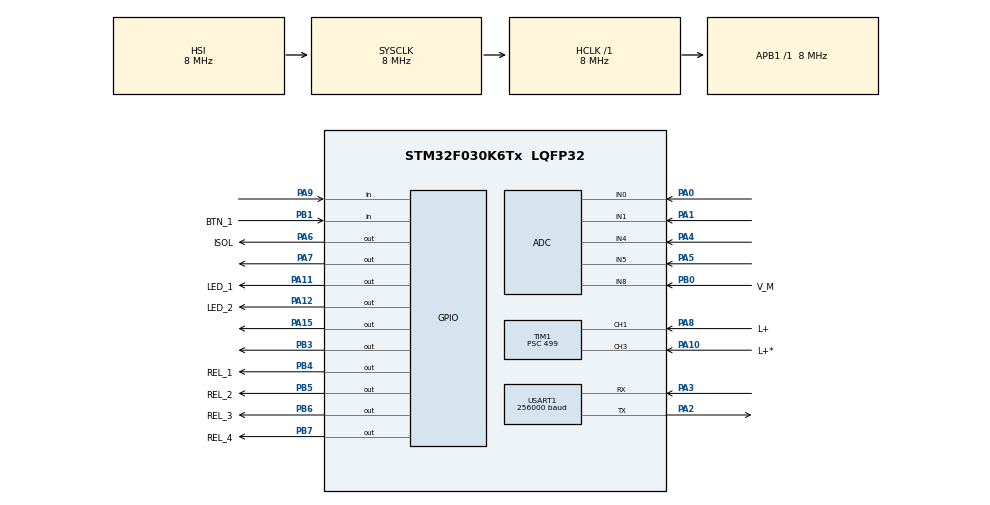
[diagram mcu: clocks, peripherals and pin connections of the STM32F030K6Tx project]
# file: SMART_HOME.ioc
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ADC.ContinuousConvMode=DISABLE
ADC.EnableAnalogWatchDog=false
ADC.SamplingTime=ADC_SAMPLETIME_7CYCLES_5
ADC.ScanConvMode=ADC_SCAN_DIRECTION_FORWARD
Dma.Request0=USART1_TX
Dma.USART1_TX.0.Direction=DMA_MEMORY_TO_PERIPH
Dma.USART1_TX.0.Instance=DMA1_Channel2
Dma.USART1_TX.0.MemDataAlignment=DMA_MDATAALIGN_BYTE
Dma.USART1_TX.0.MemInc=DMA_MINC_ENABLE
Dma.USART1_TX.0.Mode=DMA_NORMAL
Dma.USART1_TX.0.PeriphDataAlignment=DMA_PDATAALIGN_BYTE
Dma.USART1_TX.0.PeriphInc=DMA_PINC_DISABLE
Dma.USART1_TX.0.Priority=DMA_PRIORITY_LOW
Mcu.Family=STM32F0
Mcu.Name=STM32F030K6Tx
Mcu.Package=LQFP32
NVIC.DMA1_Channel2_3_IRQn=true\:0\:0\:false\:false\:true\:false\:true\:true
NVIC.RCC_IRQn=true\:0\:0\:false\:false\:true\:true\:false\:true
NVIC.TIM1_BRK_UP_TRG_COM_IRQn=true\:0\:0\:false\:false\:true\:true\:true\:true
NVIC.TIM1_CC_IRQn=true\:0\:0\:false\:false\:true\:true\:true\:true
NVIC.TIM3_IRQn=true\:0\:0\:false\:false\:true\:true\:true\:true
NVIC.USART1_IRQn=true\:0\:0\:false\:false\:true\:true\:true\:true
PA0.Mode=IN0
PA0.Signal=ADC_IN0
PA1.Mode=IN1
PA1.Signal=ADC_IN1
PA10.GPIO_Label=L+*
PA10.GPIO_PuPd=GPIO_NOPULL
PA10.Signal=S_TIM1_CH3
PA11.GPIO_Label=LED_1
PA11.Signal=GPIO_Output
PA12.GPIO_Label=LED_2
PA12.Signal=GPIO_Output
PA13.Mode=Serial_Wire
PA13.Signal=SYS_SWDIO
PA14.Mode=Serial_Wire
PA14.Signal=SYS_SWCLK
PA15.Signal=GPIO_Output
PA2.Mode=Asynchronous
PA2.Signal=USART1_TX
PA3.Mode=Asynchronous
PA3.Signal=USART1_RX
PA4.Mode=IN4
PA4.Signal=ADC_IN4
PA5.Mode=IN5
PA5.Signal=ADC_IN5
PA6.GPIO_Label=ISOL
PA6.Signal=GPIO_Output
PA7.GPIO_Speed=GPIO_SPEED_FREQ_HIGH
PA7.Signal=GPIO_Output
PA8.GPIO_Label=L+
PA8.GPIO_PuPd=GPIO_NOPULL
PA8.Signal=S_TIM1_CH1
PA9.Signal=GPIO_Input
PB0.GPIO_Label=V_M
PB0.Mode=IN8
PB0.Signal=ADC_IN8
PB1.GPIO_Label=BTN_1
PB1.Signal=GPIO_Input
PB3.Signal=GPIO_Output
PB4.GPIO_Label=REL_1
PB4.Signal=GPIO_Output
PB5.GPIO_Label=REL_2
PB5.Signal=GPIO_Output
PB6.GPIO_Label=REL_3
PB6.Signal=GPIO_Output
PB7.GPIO_Label=REL_4
PB7.Signal=GPIO_Output
PF0-OSC_IN.Mode=HSE-External-Oscillator
PF0-OSC_IN.Signal=RCC_OSC_IN
PF1-OSC_OUT.Mode=HSE-External-Oscillator
PF1-OSC_OUT.Signal=RCC_OSC_OUT
ProjectManager.HeapSize=0x200
ProjectManager.StackSize=0x400
ProjectManager.TargetToolchain=STM32CubeIDE
RCC.AHBFreq_Value=8000000
RCC.APB1Freq_Value=8000000
RCC.APB1TimFreq_Value=8000000
RCC.HCLKFreq_Value=8000000
RCC.PLLMUL=RCC_PLL_MUL6
RCC.SYSCLKFreq_VALUE=8000000
RCC.Usart1ClockSelection=RCC_USART1CLKSOURCE_HSI
SH.S_TIM1_CH1.0=TIM1_CH1,Input_Capture1_from_TI1
SH.S_TIM1_CH3.0=TIM1_CH3,Input_Capture3_from_TI3
TIM1.Channel-Input_Capture1_from_TI1=TIM_CHANNEL_1
TIM1.Channel-Input_Capture2_from_TI1_63=TIM_CHANNEL_2
TIM1.Channel-Input_Capture3_from_TI3=TIM_CHANNEL_3
TIM1.Channel-Input_Capture4_from_TI3_63=TIM_CHANNEL_4
TIM1.ICPolarity_CH1=TIM_INPUTCHANNELPOLARITY_FALLING
TIM1.ICPolarity_CH2=TIM_INPUTCHANNELPOLARITY_RISING
TIM1.Period=40000
TIM1.Prescaler=499
USART1.BaudRate=256000
USART1.VirtualMode-Asynchronous=VM_ASYNC
VP_ADC_TempSens_Input.Mode=IN-TempSens
VP_ADC_Vref_Input.Mode=IN-Vrefint
VP_TIM1_VS_ClockSourceINT.Mode=Internal
VP_TIM1_VS_indirect_ch1.Mode=Input_Capture2_from_TI1_63
VP_TIM1_VS_indirect_ch3.Mode=Input_Capture4_from_TI3_63
VP_TIM3_VS_ClockSourceINT.Mode=Internal
board=custom

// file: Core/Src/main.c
/* USER CODE BEGIN Header */
/**
  ******************************************************************************
  * @file           : main.c
  * @brief          : Main program body
  ******************************************************************************
  * @attention
  *
  * Copyright (c) 2023 STMicroelectronics.
  * All rights reserved.
  *
  * This software is licensed under terms that can be found in the LICENSE file
  * in the root directory of this software component.
  * If no LICENSE file comes with this software, it is provided AS-IS.
  *
  ******************************************************************************
  */
/* USER CODE END Header */
#include "main.h"

/* USER CODE BEGIN Includes */
#include "string.h"
#include "stdint.h"
#include "stdio.h"
#include "math.h"

/* USER CODE END Includes */

/* USER CODE BEGIN PTD */

#define LED1_ON     HAL_GPIO_WritePin(GPIOA, GPIO_PIN_11,GPIO_PIN_SET);
#define LED1_OFF    HAL_GPIO_WritePin(GPIOA, GPIO_PIN_11,GPIO_PIN_RESET);

#define LED2_ON     HAL_GPIO_WritePin(GPIOA, GPIO_PIN_12,GPIO_PIN_SET);
#define LED2_OFF    HAL_GPIO_WritePin(GPIOA, GPIO_PIN_12,GPIO_PIN_RESET);

#define REL1_ON     HAL_GPIO_WritePin(GPIOB, GPIO_PIN_4,GPIO_PIN_SET);
#define REL1_OFF    HAL_GPIO_WritePin(GPIOB, GPIO_PIN_4,GPIO_PIN_RESET);

#define REL2_ON     HAL_GPIO_WritePin(GPIOB, GPIO_PIN_5,GPIO_PIN_SET);
#define REL2_OFF    HAL_GPIO_WritePin(GPIOB, GPIO_PIN_5,GPIO_PIN_RESET);

#define REL3_ON     HAL_GPIO_WritePin(GPIOB, GPIO_PIN_6,GPIO_PIN_SET);
#define REL3_OFF    HAL_GPIO_WritePin(GPIOB, GPIO_PIN_6,GPIO_PIN_RESET);

#define REL4_ON     HAL_GPIO_WritePin(GPIOB, GPIO_PIN_7,GPIO_PIN_SET);
#define REL4_OFF    HAL_GPIO_WritePin(GPIOB, GPIO_PIN_7,GPIO_PIN_RESET);

#define REL5_ON     HAL_GPIO_WritePin(GPIOB, GPIO_PIN_3,GPIO_PIN_SET);
#define REL5_OFF    HAL_GPIO_WritePin(GPIOB, GPIO_PIN_3,GPIO_PIN_RESET);

#define REL6_ON     HAL_GPIO_WritePin(GPIOA, GPIO_PIN_15,GPIO_PIN_SET);
#define REL6_OFF    HAL_GPIO_WritePin(GPIOA, GPIO_PIN_15,GPIO_PIN_RESET);

#define OWR_ON     HAL_GPIO_WritePin(GPIOA, GPIO_PIN_7,GPIO_PIN_SET);
#define OWR_OFF    HAL_GPIO_WritePin(GPIOA, GPIO_PIN_7,GPIO_PIN_RESET);

#define ISOL_ON     HAL_GPIO_WritePin(GPIOA, GPIO_PIN_6,GPIO_PIN_SET);
#define ISOL_OFF    HAL_GPIO_WritePin(GPIOA, GPIO_PIN_6,GPIO_PIN_RESET);

//#define   BTN  HAL_GPIO_ReadPin(GPIOB,GPIO_PIN_1)==0;
//#define   INP  HAL_GPIO_ReadPin(GPIOA,GPIO_PIN_9);

#define TEMP30_CAL_ADDR ((uint16_t*) ((uint32_t) 0x1FFFF7B8))
#define VDD_CALIB ((uint32_t) (3300))
#define VDD_APPLI ((uint32_t) (3000))
#define AVG_SLOPE  .0025
#define V25  0.76

/* USER CODE END PTD */

ADC_HandleTypeDef hadc;

TIM_HandleTypeDef htim1;
TIM_HandleTypeDef htim3;

UART_HandleTypeDef huart1;
DMA_HandleTypeDef hdma_usart1_tx;

/* USER CODE BEGIN PV */
//uint16_t adc_val[7]={0,};
uint16_t adc_out=0;
uint16_t period=0;
uint16_t pulse=0;
uint16_t v_batt=0;
uint16_t v_CPU=0;
uint16_t temp=0;
uint16_t inp_1=0;
uint16_t inp_2=0;
uint16_t inp_3=0;
uint16_t inp_4=0;
uint8_t alarm=0;
char str[58]={0, };
uint8_t rcvd[198]={0,};
uint8_t count=0;
uint8_t rcv_addres=0;
uint8_t addres_call=0;
uint8_t directive=0;
uint8_t addres=13;
uint8_t Device_ID=159;//108 БСА
uint8_t temp_ID=0;
/* USER CODE END PV */

void SystemClock_Config(void);
static void MX_GPIO_Init(void);
static void MX_DMA_Init(void);
static void MX_TIM1_Init(void);
static void MX_USART1_UART_Init(void);
static void MX_ADC_Init(void);
static void MX_TIM3_Init(void);
/* USER CODE BEGIN PFP */

void Print_test(void){

	sprintf(str, "\n\r Cnt-%02d,per-%04d,pul-%04d,adr-%04d,dir-%04d\n\r",count,period,pulse,rcv_addres,directive);
	 LED2_ON;
	 HAL_UART_Transmit_DMA(&huart1, str, sizeof(str));

}

void Protocol(void){
	           //  if ((count==9)&&(alarm=1)){OWR_ON;}
             	 if (count==13){OWR_ON;}//count==14-alarm
	        	 if (count==22){OWR_ON;}
	        	 if (count==31){OWR_ON;}
	        	 if (count==40){OWR_ON;}
	        	 if (count==49){OWR_ON;}
	        	 if (count==58){OWR_ON;}
	        	 if (count==67){OWR_ON;}
	        	 if (count==76){OWR_ON;}
	        	 if (count==85){OWR_ON;}
	        	 if (count==94){OWR_ON;}
	        	 if (count==103){OWR_ON;}
	        	 if (count==112){OWR_ON;}
	        	 if (count==121){OWR_ON;}
	        	 if (count==130){OWR_ON;}
	        	 if (count==139){OWR_ON;}
	        	 if (count==148){OWR_ON;}

	        	 if (count==13)
	        	         	   {  directive=0;

	        	         	     directive|= (rcvd[9]<<4)|(rcvd[10]<<3)|(rcvd[11]<<2)|(rcvd[12]<<1)|(rcvd[13]) ;

	        	         	    }

	        	         	 switch(directive)
	        	         			   {

	        	         	 case 6 :

	        	         		 if(count==30){OWR_ON;}
	        	         	  if(count==45){OWR_ON;}
	        	            if(count==46)
	        	           {

	        	          if((rcvd[35]==1)&&(rcvd[42]==1)) {LED1_ON;}
	        	         if((rcvd[36]==1)&&(rcvd[43]==1)) {LED1_OFF;}
	        	          if((rcvd[38]==1)&&(rcvd[45]==1)) {}
	        	         if((rcvd[37]==1)&&(rcvd[44]==1)) {LED2_OFF;}
	        	         			        	         			   }

	        	         	 break;

	        	         	 case 3 :

	        	         		 if((count>=14)&&(count<22))
	        	         		        	         	       {
	        	         		        	         	            temp_ID|=((Device_ID>>(21-count))&(0b1));
	        	         		        	         	            if(temp_ID==1){OWR_ON;}
	        	         		        	         	            if(temp_ID==0){OWR_OFF;}
	        	         		        	         	            temp_ID=0;
	        	         		        	         	       }

	        	         	     if((count>=23)&&(count<31)&&(alarm==1))  //Статус прибора.выходов
	        	         	             	        	      			{
	        	         	             	        	      				temp_ID|=((1)&(0b1));
	        	         	             	        	      				if(temp_ID==1){ OWR_ON;}
	        	         	             	        	      				if(temp_ID==0){ }
	        	         	             	        	      				temp_ID=0;
	        	         	            	        	      			}
	        	         	 //     if((count>=42)&&(count<49)&&(alarm==1))  //Статус прибора.выходов
	        	         	   //   			{
	        	         	   //   				temp_ID|=((1)&(0b1));
	        	         	   //   				if(temp_ID==1){ OWR_ON;}
	        	         	    //  				if(temp_ID==0){ }
	        	         	    //  				temp_ID=0;
	        	         	     // 			}
	        	              //Тестовый опрос
	        	         	//      if(count==44){ OWR_ON;}

	        	         	  break;

	        	         	  case 14 :

	        	         			   if(count==30){OWR_ON;}
	        	         			   if(count==45){OWR_ON;}
	        	         			   if(count==54){OWR_ON;}

	        	         			   if(count==46)
	        	         			   {

	        	         				   if((rcvd[35]==1)&&(rcvd[42]==1)) {LED1_ON;}
	        	         				   if((rcvd[36]==1)&&(rcvd[43]==1)) {LED1_OFF;}
	        	         				   if((rcvd[38]==1)&&(rcvd[45]==1)) {}
	        	         				   if((rcvd[37]==1)&&(rcvd[44]==1)) {LED2_OFF;}
	        	         			   }
	        	         			   break;

	        	         	 case 0 :

	        	         		 break;

	        	         			   }
                                  }

void ADC_reset_ch(void){

	 ADC_ChannelConfTypeDef sConfig = {0};

	              sConfig.Channel = ADC_CHANNEL_0;
	              sConfig.Rank = ADC_RANK_NONE;
	              HAL_ADC_ConfigChannel(&hadc, &sConfig);
	              sConfig.Channel = ADC_CHANNEL_1;
	              sConfig.Rank = ADC_RANK_NONE;
	              HAL_ADC_ConfigChannel(&hadc, &sConfig);
	              sConfig.Channel = ADC_CHANNEL_4;
	              sConfig.Rank = ADC_RANK_NONE;
	              HAL_ADC_ConfigChannel(&hadc, &sConfig);
	              sConfig.Channel = ADC_CHANNEL_5;
	              sConfig.Rank = ADC_RANK_NONE;
	              HAL_ADC_ConfigChannel(&hadc, &sConfig);
	              sConfig.Channel = ADC_CHANNEL_8;
	              sConfig.Rank = ADC_RANK_NONE;
	              HAL_ADC_ConfigChannel(&hadc, &sConfig);
	              sConfig.Channel = ADC_CHANNEL_TEMPSENSOR;
	              sConfig.Rank = ADC_RANK_NONE;
	              HAL_ADC_ConfigChannel(&hadc, &sConfig);
	              sConfig.Channel = ADC_CHANNEL_VREFINT;
	              sConfig.Rank = ADC_RANK_NONE;
	              HAL_ADC_ConfigChannel(&hadc, &sConfig);

}
void ADC_Select_CH0 (void)
	  {
	      ADC_ChannelConfTypeDef sConfig = {0};

	  	  sConfig.Channel = ADC_CHANNEL_0;
	  	  sConfig.Rank = ADC_RANK_CHANNEL_NUMBER;
	  	  sConfig.SamplingTime = ADC_SAMPLETIME_28CYCLES_5;
	  	 HAL_ADC_ConfigChannel(&hadc, &sConfig);

	  }

	  void ADC_Select_CH1 (void)
	    {
	    	ADC_ChannelConfTypeDef sConfig = {0};
	    	  /** Configure for the selected ADC regular channel its corresponding rank in the sequencer and its sample time.
	    	  */
	    	  sConfig.Channel = ADC_CHANNEL_1;
	    	  sConfig.Rank = ADC_RANK_CHANNEL_NUMBER;;
	    	  sConfig.SamplingTime = ADC_SAMPLETIME_28CYCLES_5;
	    	  HAL_ADC_ConfigChannel(&hadc, &sConfig);

	    }

	  void ADC_Select_CH4 (void)
	     {
	     	ADC_ChannelConfTypeDef sConfig = {0};
	     	  /** Configure for the selected ADC regular channel its corresponding rank in the sequencer and its sample time.
	     	  */
	     	  sConfig.Channel = ADC_CHANNEL_4;
	     	  sConfig.Rank = ADC_RANK_CHANNEL_NUMBER;
	     	  sConfig.SamplingTime = ADC_SAMPLETIME_13CYCLES_5;
	     	  HAL_ADC_ConfigChannel(&hadc, &sConfig);
	     }

	  void ADC_Select_CH5 (void)
	       {
	       	ADC_ChannelConfTypeDef sConfig = {0};
	       	  /** Configure for the selected ADC regular channel its corresponding rank in the sequencer and its sample time.
	       	  */
	       	  sConfig.Channel = ADC_CHANNEL_5;
	       	  sConfig.Rank = ADC_RANK_CHANNEL_NUMBER;
	       	  sConfig.SamplingTime = ADC_SAMPLETIME_13CYCLES_5;
	       	  HAL_ADC_ConfigChannel(&hadc, &sConfig);
	       }

	  void ADC_Select_CH8 (void)
	         {
	         	ADC_ChannelConfTypeDef sConfig = {0};
	         	  /** Configure for the selected ADC regular channel its corresponding rank in the sequencer and its sample time.
	         	  */
	         	  sConfig.Channel = ADC_CHANNEL_8;
	         	  sConfig.Rank = ADC_RANK_CHANNEL_NUMBER;
	         	  sConfig.SamplingTime = ADC_SAMPLETIME_28CYCLES_5;
	         	  HAL_ADC_ConfigChannel(&hadc, &sConfig);
	         }

	  void ADC_Select_CHTemp (void)
	  {
	  	ADC_ChannelConfTypeDef sConfig = {0};
	  	  /** Configure for the selected ADC regular channel its corresponding rank in the sequencer and its sample time.
	  	  */
	  	  sConfig.Channel = ADC_CHANNEL_TEMPSENSOR;
	  	  sConfig.Rank = ADC_RANK_CHANNEL_NUMBER;
	  	  sConfig.SamplingTime =ADC_SAMPLETIME_28CYCLES_5;
	      HAL_ADC_ConfigChannel(&hadc, &sConfig);
	  }

	  void ADC_Select_CH_V_REF (void)
	    {
	    	ADC_ChannelConfTypeDef sConfig = {0};
	    	  /** Configure for the selected ADC regular channel its corresponding rank in the sequencer and its sample time.
	    	  */
	    	  sConfig.Channel = ADC_CHANNEL_VREFINT;
	    	  sConfig.Rank = ADC_RANK_CHANNEL_NUMBER;
	    	  sConfig.SamplingTime =ADC_SAMPLETIME_13CYCLES_5;
	    	  HAL_ADC_ConfigChannel(&hadc, &sConfig);
	    }

	  uint16_t ADC_read(uint8_t n)

	  {

		  switch (n){

			  case 0:
		  ADC_reset_ch();
          ADC_Select_CH0();
          break;
			  case 1:
				  ADC_reset_ch();
		  ADC_Select_CH1();
          break;

			  case 2:
				  ADC_reset_ch();
		  ADC_Select_CH4();
		  break;

			  case 3:
				  ADC_reset_ch();
		  ADC_Select_CH5();
		  break;

			  case 4:
				  ADC_reset_ch();
		  ADC_Select_CH8();
		  break;

			  case 5:
				  ADC_reset_ch();
		  ADC_Select_CHTemp();
		  break;

			  case 6:
				  ADC_reset_ch();
		  ADC_Select_CH_V_REF();
		  break;

		  }
 		  HAL_ADC_Start(&hadc);
 		  HAL_ADC_PollForConversion(&hadc, 100);
 		  adc_out = HAL_ADC_GetValue(&hadc);
 		  HAL_ADC_Stop(&hadc);
 		// adc_val[n]=adc_out;
 		// return adc_val[n];

 		  return adc_out;
	  }
/* USER CODE END PFP */

int main(void)
{

  /* MCU Configuration--------------------------------------------------------*/

  /* Reset of all peripherals, Initializes the Flash interface and the Systick. */
  HAL_Init();

  /* Configure the system clock */
  SystemClock_Config();

  /* Initialize all configured peripherals */
  MX_GPIO_Init();
  MX_DMA_Init();
  MX_TIM1_Init();
  MX_USART1_UART_Init();
  MX_ADC_Init();
  MX_TIM3_Init();
  /* USER CODE BEGIN 2 */
 //  LED1_ON;
 //  LED2_ON;
   REL1_ON;
   REL1_OFF;
   HAL_TIM_IC_Start_IT(&htim1, TIM_CHANNEL_1);
     HAL_TIM_IC_Start_IT(&htim1, TIM_CHANNEL_2);
     HAL_SuspendTick();
     HAL_PWR_EnableSleepOnExit ();
  /* USER CODE END 2 */

  /* Infinite loop */
  /* USER CODE BEGIN WHILE */
  while (1)
  {
/*
	  v_batt=0;
	  inp_1=ADC_read(0);
	  inp_2=ADC_read(1);
	  inp_3=ADC_read(2);
	  inp_4=ADC_read(3);
	  temp=ADC_read(5);

  //   temp = ((3.3*temp/4095 - V25)/AVG_SLOPE)+25;
     v_batt=ADC_read(4);
     v_CPU=ADC_read(6);

     if(HAL_GPIO_ReadPin(GPIOB,GPIO_PIN_1)==0)   {inp_1=0;inp_2=0;REL4_ON;HAL_Delay(500);REL5_ON;HAL_Delay(500);REL6_ON; LED1_OFF;}
     if(HAL_GPIO_ReadPin(GPIOA,GPIO_PIN_9)==0) {LED1_ON;REL4_OFF;HAL_Delay(500);REL5_OFF;HAL_Delay(500);REL6_OFF;}
 //sprintf(str, "\n\r In_1-%05d, In_2-%05d,In_3-%05d,In_4-%05d,Temp-%05d, ADC-%05d,V_CPU-%04d,pulse-%04d,period-%04d\n\r",inp_1,inp_2,inp_3,inp_4,temp,v_batt,v_CPU,pulse,period);
       	 LED2_ON;
       HAL_UART_Transmit_DMA(&huart1, str, sizeof(str));
      	 // HAL_UART_Transmit(&huart1,str, sizeof(str), 100);

        	//  LED2_OFF;
        	  HAL_Delay(5000);
       // 	  LED2_OFF;

    /* USER CODE END WHILE */

  }
}

void SystemClock_Config(void)
{
  RCC_OscInitTypeDef RCC_OscInitStruct = {0};
  RCC_ClkInitTypeDef RCC_ClkInitStruct = {0};
  RCC_PeriphCLKInitTypeDef PeriphClkInit = {0};

  /** Initializes the RCC Oscillators according to the specified parameters
  * in the RCC_OscInitTypeDef structure.
  */
  RCC_OscInitStruct.OscillatorType = RCC_OSCILLATORTYPE_HSI|RCC_OSCILLATORTYPE_HSI14;
  RCC_OscInitStruct.HSIState = RCC_HSI_ON;
  RCC_OscInitStruct.HSI14State = RCC_HSI14_ON;
  RCC_OscInitStruct.HSICalibrationValue = RCC_HSICALIBRATION_DEFAULT;
  RCC_OscInitStruct.HSI14CalibrationValue = 16;
  RCC_OscInitStruct.PLL.PLLState = RCC_PLL_NONE;
  if (HAL_RCC_OscConfig(&RCC_OscInitStruct) != HAL_OK)
  {
    Error_Handler();
  }

  /** Initializes the CPU, AHB and APB buses clocks
  */
  RCC_ClkInitStruct.ClockType = RCC_CLOCKTYPE_HCLK|RCC_CLOCKTYPE_SYSCLK
                              |RCC_CLOCKTYPE_PCLK1;
  RCC_ClkInitStruct.SYSCLKSource = RCC_SYSCLKSOURCE_HSI;
  RCC_ClkInitStruct.AHBCLKDivider = RCC_SYSCLK_DIV1;
  RCC_ClkInitStruct.APB1CLKDivider = RCC_HCLK_DIV1;

  if (HAL_RCC_ClockConfig(&RCC_ClkInitStruct, FLASH_LATENCY_0) != HAL_OK)
  {
    Error_Handler();
  }
  PeriphClkInit.PeriphClockSelection = RCC_PERIPHCLK_USART1;
  PeriphClkInit.Usart1ClockSelection = RCC_USART1CLKSOURCE_HSI;
  if (HAL_RCCEx_PeriphCLKConfig(&PeriphClkInit) != HAL_OK)
  {
    Error_Handler();
  }
}

static void MX_ADC_Init(void)
{

  ADC_ChannelConfTypeDef sConfig = {0};

  /** Configure the global features of the ADC (Clock, Resolution, Data Alignment and number of conversion)
  */
  hadc.Instance = ADC1;
  hadc.Init.ClockPrescaler = ADC_CLOCK_ASYNC_DIV1;
  hadc.Init.Resolution = ADC_RESOLUTION_12B;
  hadc.Init.DataAlign = ADC_DATAALIGN_RIGHT;
  hadc.Init.ScanConvMode = ADC_SCAN_DIRECTION_FORWARD;
  hadc.Init.EOCSelection = ADC_EOC_SINGLE_CONV;
  hadc.Init.LowPowerAutoWait = DISABLE;
  hadc.Init.LowPowerAutoPowerOff = DISABLE;
  hadc.Init.ContinuousConvMode = DISABLE;
  hadc.Init.DiscontinuousConvMode = DISABLE;
  hadc.Init.ExternalTrigConv = ADC_SOFTWARE_START;
  hadc.Init.ExternalTrigConvEdge = ADC_EXTERNALTRIGCONVEDGE_NONE;
  hadc.Init.DMAContinuousRequests = DISABLE;
  hadc.Init.Overrun = ADC_OVR_DATA_PRESERVED;
  if (HAL_ADC_Init(&hadc) != HAL_OK)
  {
    Error_Handler();
  }

  /** Configure for the selected ADC regular channel to be converted.
  */
  sConfig.Channel = ADC_CHANNEL_0;
  sConfig.Rank = ADC_RANK_CHANNEL_NUMBER;
  sConfig.SamplingTime = ADC_SAMPLETIME_7CYCLES_5;
  if (HAL_ADC_ConfigChannel(&hadc, &sConfig) != HAL_OK)
  {
    Error_Handler();
  }

  /** Configure for the selected ADC regular channel to be converted.
  */
  sConfig.Channel = ADC_CHANNEL_1;
  if (HAL_ADC_ConfigChannel(&hadc, &sConfig) != HAL_OK)
  {
    Error_Handler();
  }

  /** Configure for the selected ADC regular channel to be converted.
  */
  sConfig.Channel = ADC_CHANNEL_4;
  if (HAL_ADC_ConfigChannel(&hadc, &sConfig) != HAL_OK)
  {
    Error_Handler();
  }

  /** Configure for the selected ADC regular channel to be converted.
  */
  sConfig.Channel = ADC_CHANNEL_5;
  if (HAL_ADC_ConfigChannel(&hadc, &sConfig) != HAL_OK)
  {
    Error_Handler();
  }

  /** Configure for the selected ADC regular channel to be converted.
  */
  sConfig.Channel = ADC_CHANNEL_8;
  if (HAL_ADC_ConfigChannel(&hadc, &sConfig) != HAL_OK)
  {
    Error_Handler();
  }

  /** Configure for the selected ADC regular channel to be converted.
  */
  sConfig.Channel = ADC_CHANNEL_TEMPSENSOR;
  if (HAL_ADC_ConfigChannel(&hadc, &sConfig) != HAL_OK)
  {
    Error_Handler();
  }

  /** Configure for the selected ADC regular channel to be converted.
  */
  sConfig.Channel = ADC_CHANNEL_VREFINT;
  if (HAL_ADC_ConfigChannel(&hadc, &sConfig) != HAL_OK)
  {
    Error_Handler();
  }

}

static void MX_TIM1_Init(void)
{

  TIM_ClockConfigTypeDef sClockSourceConfig = {0};
  TIM_MasterConfigTypeDef sMasterConfig = {0};
  TIM_IC_InitTypeDef sConfigIC = {0};

  htim1.Instance = TIM1;
  htim1.Init.Prescaler = 499;
  htim1.Init.CounterMode = TIM_COUNTERMODE_UP;
  htim1.Init.Period = 40000;
  htim1.Init.ClockDivision = TIM_CLOCKDIVISION_DIV1;
  htim1.Init.RepetitionCounter = 0;
  htim1.Init.AutoReloadPreload = TIM_AUTORELOAD_PRELOAD_DISABLE;
  if (HAL_TIM_Base_Init(&htim1) != HAL_OK)
  {
    Error_Handler();
  }
  sClockSourceConfig.ClockSource = TIM_CLOCKSOURCE_INTERNAL;
  if (HAL_TIM_ConfigClockSource(&htim1, &sClockSourceConfig) != HAL_OK)
  {
    Error_Handler();
  }
  if (HAL_TIM_IC_Init(&htim1) != HAL_OK)
  {
    Error_Handler();
  }
  sMasterConfig.MasterOutputTrigger = TIM_TRGO_RESET;
  sMasterConfig.MasterSlaveMode = TIM_MASTERSLAVEMODE_DISABLE;
  if (HAL_TIMEx_MasterConfigSynchronization(&htim1, &sMasterConfig) != HAL_OK)
  {
    Error_Handler();
  }
  sConfigIC.ICPolarity = TIM_INPUTCHANNELPOLARITY_FALLING;
  sConfigIC.ICSelection = TIM_ICSELECTION_DIRECTTI;
  sConfigIC.ICPrescaler = TIM_ICPSC_DIV1;
  sConfigIC.ICFilter = 0;
  if (HAL_TIM_IC_ConfigChannel(&htim1, &sConfigIC, TIM_CHANNEL_1) != HAL_OK)
  {
    Error_Handler();
  }
  sConfigIC.ICPolarity = TIM_INPUTCHANNELPOLARITY_RISING;
  sConfigIC.ICSelection = TIM_ICSELECTION_INDIRECTTI;
  if (HAL_TIM_IC_ConfigChannel(&htim1, &sConfigIC, TIM_CHANNEL_2) != HAL_OK)
  {
    Error_Handler();
  }
  sConfigIC.ICSelection = TIM_ICSELECTION_DIRECTTI;
  if (HAL_TIM_IC_ConfigChannel(&htim1, &sConfigIC, TIM_CHANNEL_3) != HAL_OK)
  {
    Error_Handler();
  }
  sConfigIC.ICSelection = TIM_ICSELECTION_INDIRECTTI;
  if (HAL_TIM_IC_ConfigChannel(&htim1, &sConfigIC, TIM_CHANNEL_4) != HAL_OK)
  {
    Error_Handler();
  }

}

static void MX_TIM3_Init(void)
{

  TIM_ClockConfigTypeDef sClockSourceConfig = {0};
  TIM_MasterConfigTypeDef sMasterConfig = {0};

  htim3.Instance = TIM3;
  htim3.Init.Prescaler = 0;
  htim3.Init.CounterMode = TIM_COUNTERMODE_UP;
  htim3.Init.Period = 65535;
  htim3.Init.ClockDivision = TIM_CLOCKDIVISION_DIV1;
  htim3.Init.AutoReloadPreload = TIM_AUTORELOAD_PRELOAD_DISABLE;
  if (HAL_TIM_Base_Init(&htim3) != HAL_OK)
  {
    Error_Handler();
  }
  sClockSourceConfig.ClockSource = TIM_CLOCKSOURCE_INTERNAL;
  if (HAL_TIM_ConfigClockSource(&htim3, &sClockSourceConfig) != HAL_OK)
  {
    Error_Handler();
  }
  sMasterConfig.MasterOutputTrigger = TIM_TRGO_RESET;
  sMasterConfig.MasterSlaveMode = TIM_MASTERSLAVEMODE_DISABLE;
  if (HAL_TIMEx_MasterConfigSynchronization(&htim3, &sMasterConfig) != HAL_OK)
  {
    Error_Handler();
  }

}

static void MX_USART1_UART_Init(void)
{

  huart1.Instance = USART1;
  huart1.Init.BaudRate = 256000;
  huart1.Init.WordLength = UART_WORDLENGTH_8B;
  huart1.Init.StopBits = UART_STOPBITS_1;
  huart1.Init.Parity = UART_PARITY_NONE;
  huart1.Init.Mode = UART_MODE_TX_RX;
  huart1.Init.HwFlowCtl = UART_HWCONTROL_NONE;
  huart1.Init.OverSampling = UART_OVERSAMPLING_16;
  huart1.Init.OneBitSampling = UART_ONE_BIT_SAMPLE_DISABLE;
  huart1.AdvancedInit.AdvFeatureInit = UART_ADVFEATURE_NO_INIT;
  if (HAL_UART_Init(&huart1) != HAL_OK)
  {
    Error_Handler();
  }

}

static void MX_DMA_Init(void)
{

  /* DMA controller clock enable */
  __HAL_RCC_DMA1_CLK_ENABLE();

  /* DMA interrupt init */
  /* DMA1_Channel2_3_IRQn interrupt configuration */
  HAL_NVIC_SetPriority(DMA1_Channel2_3_IRQn, 0, 0);
  HAL_NVIC_EnableIRQ(DMA1_Channel2_3_IRQn);

}

static void MX_GPIO_Init(void)
{
  GPIO_InitTypeDef GPIO_InitStruct = {0};

  /* GPIO Ports Clock Enable */
  __HAL_RCC_GPIOF_CLK_ENABLE();
  __HAL_RCC_GPIOA_CLK_ENABLE();
  __HAL_RCC_GPIOB_CLK_ENABLE();

  /*Configure GPIO pin Output Level */
  HAL_GPIO_WritePin(GPIOA, ISOL_Pin|GPIO_PIN_7|LED_1_Pin|LED_2_Pin
                          |GPIO_PIN_15, GPIO_PIN_RESET);

  /*Configure GPIO pin Output Level */
  HAL_GPIO_WritePin(GPIOB, GPIO_PIN_3|REL_1_Pin|REL_2_Pin|REL_3_Pin
                          |REL_4_Pin, GPIO_PIN_RESET);

  /*Configure GPIO pins : ISOL_Pin LED_1_Pin LED_2_Pin PA15 */
  GPIO_InitStruct.Pin = ISOL_Pin|LED_1_Pin|LED_2_Pin|GPIO_PIN_15;
  GPIO_InitStruct.Mode = GPIO_MODE_OUTPUT_PP;
  GPIO_InitStruct.Pull = GPIO_NOPULL;
  GPIO_InitStruct.Speed = GPIO_SPEED_FREQ_LOW;
  HAL_GPIO_Init(GPIOA, &GPIO_InitStruct);

  /*Configure GPIO pin : PA7 */
  GPIO_InitStruct.Pin = GPIO_PIN_7;
  GPIO_InitStruct.Mode = GPIO_MODE_OUTPUT_PP;
  GPIO_InitStruct.Pull = GPIO_NOPULL;
  GPIO_InitStruct.Speed = GPIO_SPEED_FREQ_HIGH;
  HAL_GPIO_Init(GPIOA, &GPIO_InitStruct);

  /*Configure GPIO pin : BTN_1_Pin */
  GPIO_InitStruct.Pin = BTN_1_Pin;
  GPIO_InitStruct.Mode = GPIO_MODE_INPUT;
  GPIO_InitStruct.Pull = GPIO_NOPULL;
  HAL_GPIO_Init(BTN_1_GPIO_Port, &GPIO_InitStruct);

  /*Configure GPIO pin : PA9 */
  GPIO_InitStruct.Pin = GPIO_PIN_9;
  GPIO_InitStruct.Mode = GPIO_MODE_INPUT;
  GPIO_InitStruct.Pull = GPIO_NOPULL;
  HAL_GPIO_Init(GPIOA, &GPIO_InitStruct);

  /*Configure GPIO pins : PB3 REL_1_Pin REL_2_Pin REL_3_Pin
                           REL_4_Pin */
  GPIO_InitStruct.Pin = GPIO_PIN_3|REL_1_Pin|REL_2_Pin|REL_3_Pin
                          |REL_4_Pin;
  GPIO_InitStruct.Mode = GPIO_MODE_OUTPUT_PP;
  GPIO_InitStruct.Pull = GPIO_NOPULL;
  GPIO_InitStruct.Speed = GPIO_SPEED_FREQ_LOW;
  HAL_GPIO_Init(GPIOB, &GPIO_InitStruct);

}

/* USER CODE BEGIN 4 */
void HAL_TIM_IC_CaptureCallback(TIM_HandleTypeDef *htim)
 {
     if (htim->Instance == TIM1)
     {
         if(htim->Channel == HAL_TIM_ACTIVE_CHANNEL_1)
         {

        	 period = HAL_TIM_ReadCapturedValue(&htim1, TIM_CHANNEL_1);

        	 TIM1->CNT=0;
         if(HAL_GPIO_ReadPin(GPIOB,GPIO_PIN_1)==0)   {alarm=1;}
        	 OWR_OFF;
        	 if((count==192)||(period>=100)){
        		 count=0;}
        	 HAL_PWR_EnableSleepOnExit ();
        	 }

         }

          if(htim->Channel == HAL_TIM_ACTIVE_CHANNEL_2) // FALLING с HIGH на LOW
                        { pulse = HAL_TIM_ReadCapturedValue(&htim1, TIM_CHANNEL_2);
                        OWR_OFF;

             if((pulse>55)&&(pulse<60))  {count=0;rcvd[count]=2;rcv_addres=0;}
        	 if((pulse>36)&&(pulse<40))  rcvd[count]=1;
        	 if((pulse>16)&&(pulse<21))  rcvd[count]=0;

        	 if((rcvd[1]==1)&&(rcvd[2]==0)&&(count==2))
        	        	                        	  {
        	        	                        		 addres_call=addres_call+1;
        	        	                        		 if(addres_call==addres)
        	        	                        		    {OWR_ON;}}

        	 if (count==8)
        	        	    {
        	        	      rcv_addres=0;
        	        	      rcv_addres|= (rcvd[1]<<7)|(rcvd[2]<<6)|(rcvd[3]<<5)|(rcvd[4]<<4)|(rcvd[5]<<3)|(rcvd[6]<<2)|(rcvd[7]<<1)|(rcvd[8]);
        	        	      if(rcv_addres==0){addres_call=0;}

        	        	    }
        	 if((rcv_addres==addres)&&(count>8)){Protocol();}

        	  count++;

        	  HAL_PWR_EnableSleepOnExit ();
                        }

     }

void HAL_UART_TxCpltCallback(UART_HandleTypeDef *huart)

{

  LED2_OFF;

}
/* USER CODE END 4 */

void Error_Handler(void)
{
  __disable_irq();
  while (1)
  {
  }
}
